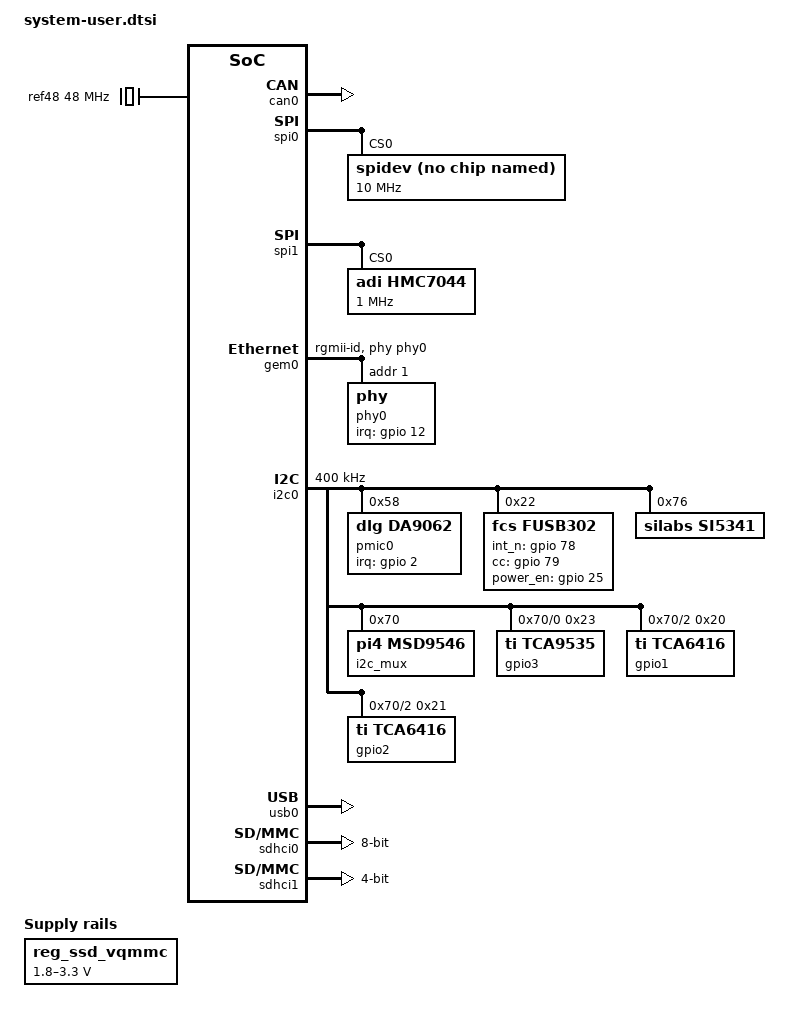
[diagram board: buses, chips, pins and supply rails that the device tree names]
// SPDX-License-Identifier: GPL-2.0
/*
 * Analog Devices AD9081-FMC-EBZ on Xilinx ZynqMP ZCU102 Rev 1.0
 * https://wiki.analog.com/resources/tools-software/linux-drivers/iio-mxfe/ad9081
 * https://wiki.analog.com/resources/eval/user-guides/ad9081_fmca_ebz/ad9081_fmca_ebz_hdl
 *
 * Copyright (C) 2019-2020 Analog Devices Inc.
 */

#include <dt-bindings/gpio/gpio.h>
//#include <dt-bindings/iio/frequency/hmc7044.h>
//#include <dt-bindings/iio/adc/adi,ad9081.h>

#ifndef _DT_BINDINGS_IIO_FREQUENCY_HMC7044_H_
#define _DT_BINDINGS_IIO_FREQUENCY_HMC7044_H_

/*
 * adi,pulse-generator-mode
 */
#define HMC7044_PULSE_GEN_LEVEL_SENSITIVE	0
#define HMC7044_PULSE_GEN_1_PULSE		1
#define HMC7044_PULSE_GEN_2_PULSE		2
#define HMC7044_PULSE_GEN_4_PULSE		3
#define HMC7044_PULSE_GEN_8_PULSE		4
#define HMC7044_PULSE_GEN_16_PULSE		5
#define HMC7044_PULSE_GEN_CONT_PULSE		7

/*
 * adi,driver-mode
 */
#define HMC7044_DRIVER_MODE_CML			0
#define HMC7044_DRIVER_MODE_LVPECL		1
#define HMC7044_DRIVER_MODE_LVDS		2
#define HMC7044_DRIVER_MODE_CMOS		3

/*
 * adi,driver-impedance
 */
#define HMC7044_DRIVER_IMPEDANCE_DISABLE	0
#define HMC7044_DRIVER_IMPEDANCE_100_OHM	1
#define HMC7044_DRIVER_IMPEDANCE_50_OHM		3

/*
 * adi,output-mux-mode
 */

#define HMC7044_OUTPUT_MUX_CH_DIV		0
#define HMC7044_OUTPUT_MUX_ANALOG_DELAY		1
#define HMC7044_OUTPUT_MUX_GROUP_PAIR		3
#define HMC7044_OUTPUT_MUX_VCO_CLOCK		4

/*
 * adi,sync-pin-mode
 */

#define HMC7044_SYNC_PIN_DISABLED		        0
#define HMC7044_SYNC_PIN_SYNC   		        1
#define HMC7044_SYNC_PIN_PULSE_GEN_REQ	        2
#define HMC7044_SYNC_PIN_SYNC_THEN_PULSE_GEN	3

/*
 * adi,clkinX-buffer-mode
 */
#define HMC7044_CLKIN_DISABLED			0
#define HMC7044_CLKIN_100OHM_TERM		3
#define HMC7044_CLKIN_AC_COUPLING		5
#define HMC7044_CLKIN_AC_100OHM_TERM		7
#define HMC7044_CLKIN_LVPECL			9
#define HMC7044_CLKIN_LVPECL_100OHM_TERM	11
#define HMC7044_CLKIN_HIGH_Z			17

#endif /* _DT_BINDINGS_IIO_FREQUENCY_HMC7044_H_ */

/include/ "system-conf.dtsi"
/ {
	regulators {
		compatible = "simple-bus";
		#address-cells = <1>;
		#size-cells = <0>;
		reg_ssd_vqmmc: regulator_ssd_vqmmc {
			compatible = "regulator-gpio";
			regulator-name = "ssd_vqmmc";
			regulator-min-microvolt = <1800000>;
			regulator-max-microvolt = <3300000>;
			regulator-type = "voltage";
			gpios = <&gpio 43 1>;
			gpios-states = <1>;
			states = <3300000 1
				1800000 0>;
		};
	};

	fmc {
		/* 
		 * By default, FMC Connector power is disabled. 
		 * 1.8V compatibility is checked while booting by reading 
		 * FMC Module's EEPROM to enable correponding FMC connector power.
		 */
		fmc-vadj-millivolt = <1800>;
		fmc-prsnt-m2c = <&gpio3  0 GPIO_ACTIVE_HIGH>;
		fmc-vcc-adj   = <&gpio3  5 GPIO_ACTIVE_HIGH>;
		fmc-vcc-12v   = <&gpio3  3 GPIO_ACTIVE_HIGH>;
		fmc-vcc-3v3   = <&gpio3  4 GPIO_ACTIVE_HIGH>;
		fmc-pg-c2m    = <&gpio3 12 GPIO_ACTIVE_HIGH>;
	};

	fmc_plus {
		/* 
		 * By default, FMC+ Connector power is disabled. 
		 * 1.8V compatibility is checked while booting by reading 
		 * FMC+ Module's EEPROM to enable correponding FMC+ connector power.
		 */
		vadj-millivolt = <1800>;
		prsnt-m2c = <&gpio3  1 GPIO_ACTIVE_HIGH>;
		vcc-adj   = <&gpio3  6 GPIO_ACTIVE_HIGH>;
		vcc-12v   = <&gpio3  8 GPIO_ACTIVE_HIGH>;
		vcc-3v3   = <&gpio3  9 GPIO_ACTIVE_HIGH>;
		pg-c2m    = <&gpio3 13 GPIO_ACTIVE_HIGH>;
	};

        retimer_clk: retimer_clk {
                compatible = "fixed-clock";
                #clock-cells = <0>;
                clock-frequency = <148500000>;
        };

     	cpu_opp_table {

		opp00 {
			opp-hz = /bits/ 64 <329166666>;
		};
		opp01 {
                        opp-hz = /bits/ 64 <438888888>;
                };
		opp02 {
                        opp-hz = /bits/ 64 <658333333>;
                };
		opp03 {
                        opp-hz = /bits/ 64 <1316666666>;
                };
	};
	amba_pl: amba_pl@0 {
		#address-cells = <2>;
		#size-cells = <2>;
		compatible = "simple-bus";
		ranges ;
                //bom_rev {
                //        pl-aw17 = <&board_config_axi_gpio_4 0 0 0>;
                //        pl-bb16 = <&board_config_axi_gpio_4 1 0 0>;
                //        pl-ba16 = <&board_config_axi_gpio_4 2 0 0>;
                //        pl-ba17 = <&board_config_axi_gpio_4 3 0 0>;
                //        pl-ay17 = <&board_config_axi_gpio_4 4 0 0>;
                //};
	};

  //M_AXI0: memory@a0000000 {
  //    device_type = "memory";
  //    reg = < 0x0 0x2000000 >;
  //};
};

&can0 {
	status = "okay";
	pwdn-gpio = <&gpio 80 0>;
};

&spi0 {
  status = "okay";
  spidev@0 {
    compatible = "brand,spidev";
    spi-max-frequency = <10000000>;
    reg = <0>;
  };
};

&spi1 {
  status = "okay";
  //spidev@0x00 {
  //  compatible = "spidev";
  //  spi-max-frequency = <10000000>;
  //  reg = <0>;
  //};
	//hmc7044: hmc7044@0 {
	//	compatible = "adi,hmc7044";
	//	reg = <0>;
	//	spi-max-frequency = <10000000>;

	//	adi,pll1-clkin-frequencies = <100000000 0 0 0>;

	//	adi,pll1-loop-bandwidth = <200>;

	//	adi,vcxo-frequency = <100000000>;

	//	adi,pll2-output-frequency = <3000000000>;

	//	adi,sysref-timer-divider = <1024>;
	//	adi,pulse-generator-mode = <0>;

	//	adi,clkin0-buffer-mode = <0x15>;
	//	adi,oscin-buffer-mode = <0x15>;

	//	adi,gpi-controls = <0x00 0x00 0x00 0x00>;
	//	adi,gpo-controls = <0x1f 0x2b 0x00 0x00>;

	//	clock-output-names = "hmc7044_out0", "hmc7044_out1", "hmc7044_out2",
	//			     "hmc7044_out3", "hmc7044_out4", "hmc7044_out5",
	//			     "hmc7044_out6", "hmc7044_out7", "hmc7044_out8",
	//			     "hmc7044_out9", "hmc7044_out10", "hmc7044_out11",
	//			     "hmc7044_out12", "hmc7044_out13";

	//	hmc7044_c2: channel@2 {
	//		reg = <2>;
	//		adi,extended-name = "DAC_CLK";
	//		adi,divider = <1>;
	//		adi,driver-mode = <1>;
	//	};
	//	hmc7044_c3: channel@3 {
	//		reg = <3>;
	//		adi,extended-name = "DAC_SYSREF";
	//		adi,divider = <512>;
	//		adi,driver-mode = <1>;
	//	};
	//	hmc7044_c12: channel@12 {
	//		reg = <12>;
	//		adi,extended-name = "FPGA_CLK";
	//		adi,divider = <8>;
	//		adi,driver-mode = <2>;
	//	};
	//	hmc7044_c13: channel@13 {
	//		reg = <13>;
	//		adi,extended-name = "FPGA_SYSREF";
	//		adi,divider = <512>;
	//		adi,driver-mode = <2>;
	//	};
	//};
/*
 *	VCXO = 122.880 MHz, XO = 122.880 MHz (AD9081-FMC-EBZ)
 */
	hmc7044: hmc7044@0 {
		#address-cells = <1>;
		#size-cells = <0>;
		#clock-cells = <1>;
		compatible = "adi,hmc7044";
		reg = <0>;
		spi-max-frequency = <1000000>;

		jesd204-device;
		#jesd204-cells = <2>;
		jesd204-sysref-provider;

		adi,jesd204-max-sysref-frequency-hz = <2000000>; /* 2 MHz */

		/*
		* There are different versions of the AD9081-FMCA-EBZ & AD9082-FMCA-EBZ
		* VCXO = 122.880 MHz, XO = 122.880MHz (AD9081-FMC-EBZ & AD9082-FMC-EBZ)
		* VCXO = 100.000 MHz, XO = 100.000MHz (AD9081-FMC-EBZ-A2 & AD9082-FMC-EBZ-A2)
		* To determine which board is which, read the freqency printed on the VCXO
		* or use the fru-dump utility:
		* #fru-dump -b /sys/bus/i2c/devices/15-0050/eeprom
		*/

		//adi,pll1-clkin-frequencies = <122880000 30720000 0 0>;
		//adi,vcxo-frequency = <122880000>;

		adi,pll1-clkin-frequencies = <100000000 10000000 0 0>;
		adi,vcxo-frequency = <100000000>;

		adi,pll1-loop-bandwidth-hz = <200>;

		adi,pll2-output-frequency = <3000000000>;

		adi,sysref-timer-divider = <1024>;
		adi,pulse-generator-mode = <0>;

		adi,clkin0-buffer-mode  = <0x07>;
		adi,clkin1-buffer-mode  = <0x07>;
		adi,oscin-buffer-mode = <0x15>;

		adi,gpi-controls = <0x00 0x00 0x00 0x00>;
		adi,gpo-controls = <0x37 0x33 0x00 0x00>;

		clock-output-names =
				"hmc7044_out0", "hmc7044_out1", "hmc7044_out2",
				"hmc7044_out3", "hmc7044_out4", "hmc7044_out5",
				"hmc7044_out6", "hmc7044_out7", "hmc7044_out8",
				"hmc7044_out9", "hmc7044_out10", "hmc7044_out11",
				"hmc7044_out12", "hmc7044_out13";

		hmc7044_c0: channel@0 {
			reg = <0>;
			adi,extended-name = "CORE_CLK_RX";
			adi,divider = <12>;	// 250
			adi,driver-mode = <HMC7044_DRIVER_MODE_LVDS>;	// LVDS

		};
		hmc7044_c2: channel@2 {
			reg = <2>;
			adi,extended-name = "DEV_REFCLK";
			adi,divider = <12>;	// 250
			adi,driver-mode = <HMC7044_DRIVER_MODE_LVDS>;	// LVDS
		};
		hmc7044_c3: channel@3 {
			reg = <3>;
			adi,extended-name = "DEV_SYSREF";
			adi,divider = <1536>;	// 1.953125
			adi,driver-mode = <HMC7044_DRIVER_MODE_LVDS>;	// LVDS
			adi,jesd204-sysref-chan;
		};

		hmc7044_c6: channel@6 {
			reg = <6>;
			adi,extended-name = "CORE_CLK_TX";
			adi,divider = <12>;	// 250
			adi,driver-mode = <HMC7044_DRIVER_MODE_LVDS>;	// LVDS
		};

		hmc7044_c8: channel@8 {
			reg = <8>;
			adi,extended-name = "FPGA_REFCLK1";
			adi,divider = <12>;	// 250
			adi,driver-mode = <HMC7044_DRIVER_MODE_LVDS>;	// LVDS
		};
		hmc7044_c10: channel@10 {
			reg = <10>;
			adi,extended-name = "CORE_CLK_RX_ALT";
			adi,divider = <12>;	// 250
			adi,driver-mode = <HMC7044_DRIVER_MODE_LVDS>;	// LVDS
		};
		hmc7044_c12: channel@12 {
			reg = <12>;
			adi,extended-name = "FPGA_REFCLK2";
			adi,divider = <12>;	// 250
			adi,driver-mode = <HMC7044_DRIVER_MODE_LVDS>;	// LVDS
		};
		hmc7044_c13: channel@13 {
			reg = <13>;
			adi,extended-name = "FPGA_SYSREF";
			adi,divider = <1536>;	// 1.953125
			adi,driver-mode = <HMC7044_DRIVER_MODE_LVDS>;	// LVDS
			adi,jesd204-sysref-chan;
		};
	};
};



&gem0 {
	phy-mode = "rgmii-id";
	local-mac-address = [00 01 02 03 04 05];
	status = "okay";
	xlnx,ptp-enet-clock = <0x0>;
	phy-handle = <&phy0>;
	phy-reset-gpio = <&gpio 42 1>;
	phy-reset-active-low;
	phy-reset-duration = <20>;
	phy0: phy@1 {
		reg = <1>;
		ti,rx-internal-delay = <0x8>;
		ti,tx-internal-delay = <0xa>;
		ti,fifo-depth = <0x1>;
		ti,rxctrl-strap-worka;
		at803x,led-act-blind-workaround;
		at803x,eee-disabled;
		at803x,vddio-1p8v;
		interrupt-parent = <&gpio>;
		interrupts = <12 8>;
	};
};

&i2c0 {
	clock-frequency = <400000>;
	status = "okay";
	
	pmic0: da9062@58 {
		compatible = "dlg,da9062";
		reg = <0x58>;
		interrupt-parent = <&gpio>;
		interrupts = <2 8>;
		interrupt-controller;
		rtc {
			compatible = "dlg,da9062-rtc";
		};
	};

  fusb302: typec-portc@22 {
		compatible = "fcs,fusb302";
		reg = <0x22>;
		fcs,int_n = <&gpio 78 8>;
		fcs,cc = <&gpio 79 0>;
		fcs,power_en = <&gpio 25 0>;
		status = "okay";
       };
	/* Programmable clock (for logic) */
	si5341: clock-generator@76 {
		reg = <0x76>;
		compatible = "silabs,si5341";
		#clock-cells = <2>;
		#address-cells = <1>;
		#size-cells = <0>;
		clocks = <&ref48>;
		clock-names = "xtal";
		clk0 {
			reg = <0>;
			always-on;
		};
		clk1 {
			reg = <1>;
			always-on;
		};
		clk2 {
			reg = <2>;
			always-on;
		};
		clk3 {
			reg = <3>;
			always-on;
		};
		clk4 {
			reg = <4>;
			always-on;
		};
		clk5 {
			reg = <5>;
			always-on;
		};
		clk6 {
			reg = <6>;
			always-on;
		};
		clk7 {
			reg = <7>;
			always-on;
		};
		clk9 {
			reg = <9>;
			always-on;
		};
	};

		i2c_mux: msd9546@70 {
		compatible = "pi4,msd9546";
		reg = <0x70>;
		status = "okay";
                #address-cells = <1>;
                #size-cells = <0>;

                i2c@0 {
                        #address-cells = <1>;
                        #size-cells = <0>;
                        reg = <0>;

                        gpio3: gpio@23 {
                                compatible = "ti,tca9535";
                                reg = <0x23>; 
                                #gpio-cells = <2>;
                                gpio-controller;
                        };
                };

                i2c@1 {
                        #address-cells = <1>;
                        #size-cells = <0>;
                        reg = <1>;
                };

                i2c@2 {
                        #address-cells = <1>;
                        #size-cells = <0>;
                        reg = <2>;

                        gpio1: gpio@20 {
		                compatible = "ti,tca6416";
                                reg = <0x20>; 
                                #gpio-cells = <2>;
                                gpio-controller;
                        };

                        gpio2: gpio@21 {
               			compatible = "ti,tca6416";
                                reg = <0x21>; 
                                #gpio-cells = <2>;
                                gpio-controller;
			};
                };

                i2c@3 {
                        #address-cells = <1>;
                        #size-cells = <0>;
                        reg = <3>;
                };

       };

};

&usb0 {
	status = "okay";
	xlnx,usb-reset = <0x2faf080>;
};

&sdhci0{
	bus-width = <8>;
};

&sdhci1 {
	clock-frequency = <200000000>;
	status = "okay";
	bus-width = <4>;
	xlnx,mio_bank = <0x1>;
	xlnx,has-cd = <0x1>;
	vqmmc-supply = <&reg_ssd_vqmmc>;
};

&rtc {
      status = "disabled";
};

&amba_pl {
        ref48: ref48M {
                compatible = "fixed-clock";
                #clock-cells = <0>;
                clock-frequency = <48000000>;
        };

        xlnk {
                compatible = "xlnx,xlnk-1.0";
        };

        //vcu_apm: apm@0xa0140000 {
        //        #address-cells = <0x1>;
        //        #size-cells = <0x1>;
        //        compatible = "generic-uio";
        //        reg = <0x0 0xa0140000 0x0 0x10000>;
        //        reg-names = "generic";
        //};
        casper_io: casper_io@a0000000 {
                #address-cells = <0x1>;
                #size-cells = <0x1>;
                compatible = "generic-uio";
                reg = <0x0 0xa0000000 0x0 0x2000000>;
                reg-names = "generic";
        };

};

&fclk0 {
       status = "okay";
};

&fclk1 {
       status = "okay";
};

&fclk2 {
       status = "okay";
};

&fclk3 {
       status = "okay";
};
